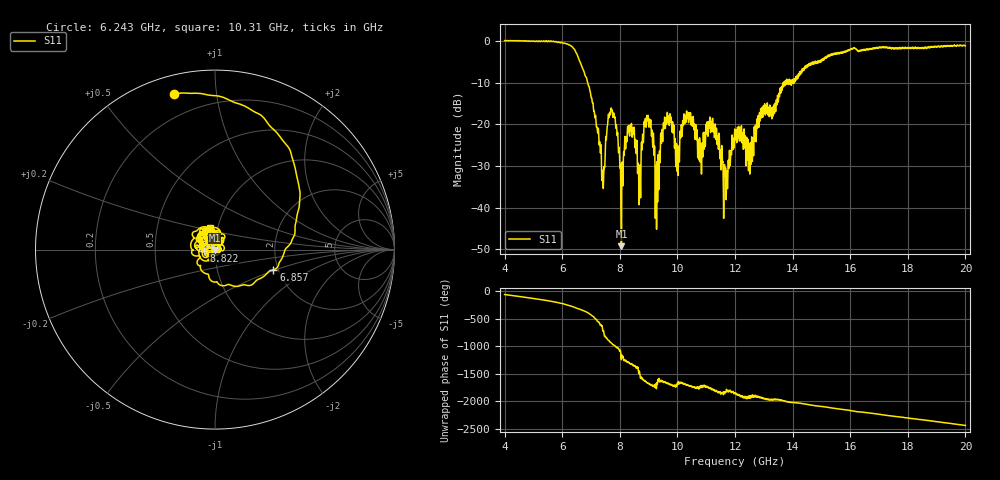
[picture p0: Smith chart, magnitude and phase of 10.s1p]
[Version] 2.0
! Rohde & Schwarz Vector Network Analyzer
! Rohde-Schwarz,ZNL20-2Port,1323001220200009,1.71.1.10-23.02.1.238
! Port Assignments:
! Nominal Port -> Actual Test Port
!  1 -> 1
! Created: GMT+2 2025-01-17 12:47:09
# Hz S RI R 50
[Number of Ports] 1
! freq[Hz]  S11[Re]  S11[Im]
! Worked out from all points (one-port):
!   16001 points, 4 GHz to 20 GHz, reference 50 ohm
!   lowest |S11| = -49.3 dB at 8.057 GHz (marker M1), VSWR 1.01, Z = 49.7 - j0.203 ohm
!   |S11| at or under -10 dB: 6.884 GHz to 13.7 GHz (6.813 GHz wide, 66.2 % of centre); 13.71171 GHz to 13.7399 GHz (28.19 MHz wide, 0.205 % of centre); 13.94132 GHz to 13.96398 GHz (22.65 MHz wide, 0.162 % of centre)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
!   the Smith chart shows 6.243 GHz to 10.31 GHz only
!   S11 on the Smith chart (normalised r, x): 6.243 GHz: 0.09, +0.77; 6.857 GHz: 1.88, -0.48; 8.822 GHz: 0.88, -0.01; 10.31 GHz: 0.92, +0.23
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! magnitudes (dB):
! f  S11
! 4 GHz  0.0
! 6 GHz  -0.5
! 6.243 GHz  -1.0
! 6.857 GHz  -9.3
! 7.402 GHz  -31.2
! 7.718 GHz  -16.7
! 7.864 GHz  -20.9
! 8 GHz  -29.9
! 8.057 GHz  -49.3
! 8.335 GHz  -22.7
! 8.523 GHz  -25.6
! 8.673 GHz  -37.4
! 8.822 GHz  -23.9
! 9.011 GHz  -20.4
! 9.293 GHz  -29.0
! 9.623 GHz  -20.0
! 10 GHz  -25.4
! 10.31 GHz  -17.9
! 10.78 GHz  -23.7
! 11.24 GHz  -21.8
! 11.67 GHz  -30.6
! 12 GHz  -21.6
! 12.54 GHz  -24.5
! 12.96 GHz  -18.3
! 14 GHz  -10.2
! 16 GHz  -2.0
! 18 GHz  -1.6
! 20 GHz  -1.2
